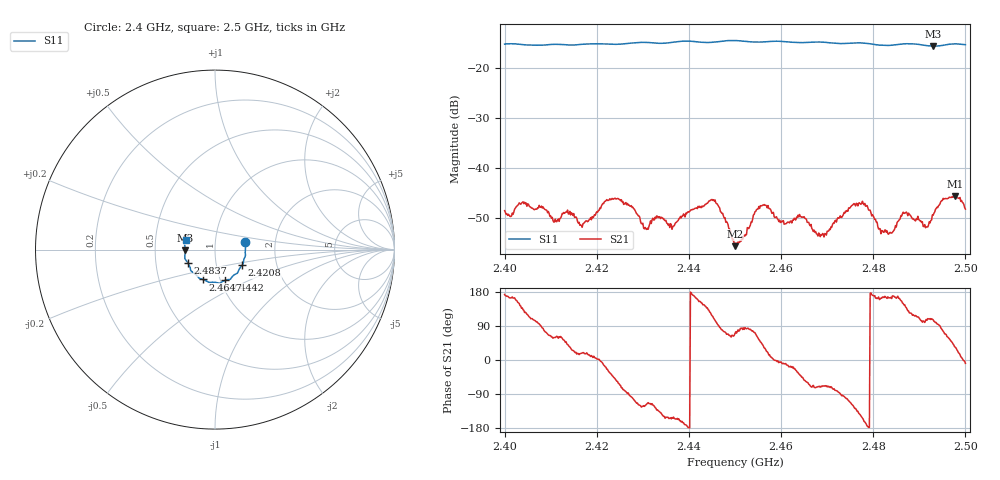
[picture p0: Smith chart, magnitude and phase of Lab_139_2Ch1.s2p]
# Hz S RI R 50
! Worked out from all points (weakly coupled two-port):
!   601 points, 2.4 GHz to 2.5 GHz, reference 50 ohm
!   highest |S21| = -45.65 dB at 2.4978 GHz (marker M1); lowest = -55.6 dB at 2.45 GHz (marker M2)
!   lowest |S11| = -15.6 dB at 2.493 GHz (marker M3), VSWR 1.40, Z = 35.8 - j0.238 ohm
!   |S11| at or under -10 dB: start of sweep to end of sweep
!   S12 and S22 are empty: the file has one direction only
!   S11 on the Smith chart (normalised r, x): 2.4 GHz: 1.40, +0.12; 2.4208 GHz: 1.33, -0.24; 2.4442 GHz: 1.05, -0.37; 2.4647 GHz: 0.83, -0.29; 2.4837 GHz: 0.73, -0.11; 2.5 GHz: 0.72, +0.08
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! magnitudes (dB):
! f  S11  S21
! 2.4 GHz  -15.2  -48.5
! 2.4042 GHz  -15.3  -47.1
! 2.4167 GHz  -15.3  -51.5
! 2.4208 GHz  -15.2  -48.1
! 2.4248 GHz  -15.2  -46.3
! 2.4307 GHz  -14.9  -52.2
! 2.4333 GHz  -15.1  -49.9
! 2.4363 GHz  -14.9  -52.2
! 2.4442 GHz  -14.9  -46.9
! 2.45 GHz  -14.5  -55.6
! 2.456 GHz  -14.8  -47.4
! 2.4647 GHz  -14.9  -49.8
! 2.4667 GHz  -14.8  -52.1
! 2.4693 GHz  -14.8  -53.8
! 2.4773 GHz  -15.0  -47.3
! 2.4833 GHz  -15.5  -53.2
! 2.4837 GHz  -15.5  -52.9
! 2.4868 GHz  -15.1  -49.1
! 2.4913 GHz  -15.5  -51.9
! 2.493 GHz  -15.6  -49.4
! 2.4978 GHz  -15.2  -45.6
! 2.5 GHz  -15.3  -48.2
